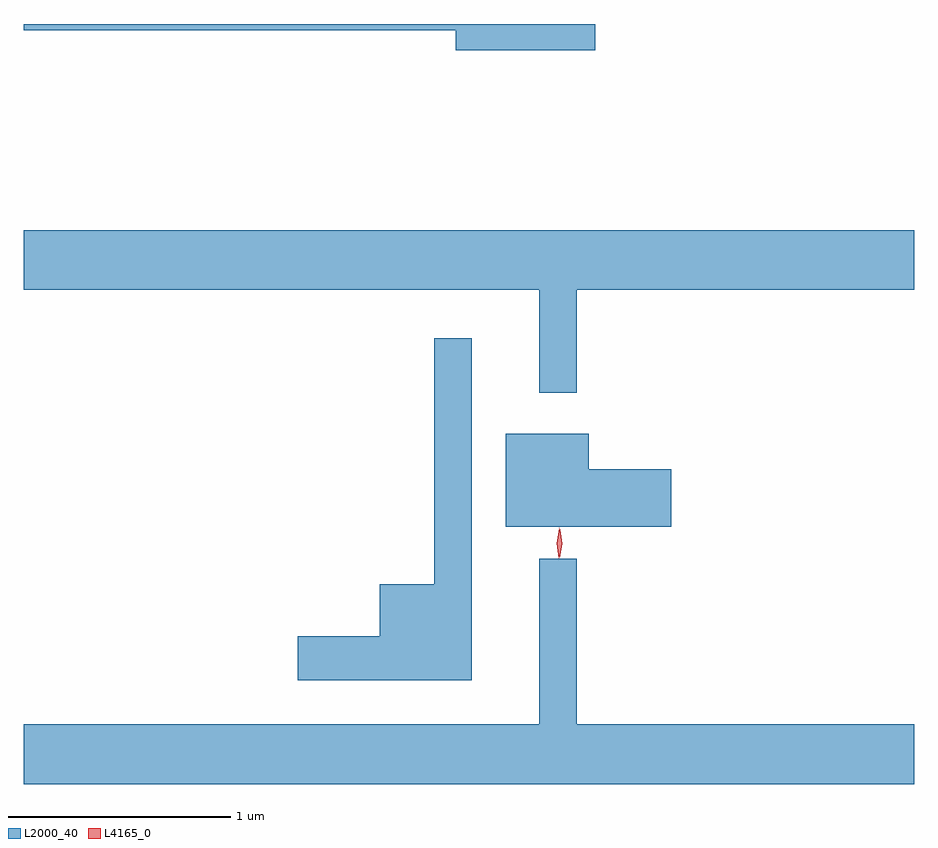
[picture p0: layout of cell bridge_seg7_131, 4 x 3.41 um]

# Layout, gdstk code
import gdstk
lib = gdstk.Library(unit=1e-6, precision=1e-09)
def P(c, l, *ps):  # polygons
    for p in ps: c.add(gdstk.Polygon(p, *l))
L2000_40 = (2000, 40)
L4165_0 = (4165, 0)

bridge_seg7_131 = lib.new_cell('bridge_seg7_131')
P(bridge_seg7_131, L2000_40, [(1472.044,1748.81),(1469.476,1748.81),(1469.476,1748.781),(1471.416,1748.781),(1471.416,1748.691),(1472.044,1748.691)],
  [(1471.959,1747.616),(1473.476,1747.616),(1473.476,1747.884),(1469.476,1747.884),(1469.476,1747.616),(1471.791,1747.616),(1471.791,1747.153),(1471.959,1747.153)],
  [(1471.489,1747.398),(1471.321,1747.398),(1471.321,1746.294),(1471.076,1746.294),(1471.076,1746.059),(1470.706,1746.059),(1470.706,1745.861),(1471.489,1745.861)],
  [(1472.384,1746.809),(1472.014,1746.809),(1472.014,1746.969),(1471.641,1746.969),(1471.641,1746.551),(1472.384,1746.551)],
  [(1473.476,1745.664),(1471.959,1745.664),(1471.959,1746.408),(1471.791,1746.408),(1471.791,1745.664),(1469.476,1745.664),(1469.476,1745.396),(1473.476,1745.396)])
P(bridge_seg7_131, L4165_0, [(1471.879,1746.41),(1471.87,1746.478),(1471.881,1746.545),(1471.881,1746.546),(1471.882,1746.545),(1471.89,1746.478),(1471.88,1746.41),(1471.88,1746.41)],
  [(1471.883,1746.413),(1471.883,1746.413),(1471.874,1746.476),(1471.884,1746.539),(1471.885,1746.54),(1471.885,1746.539),(1471.894,1746.476),(1471.884,1746.413)])

lib.write_gds('bridge_seg7_131.gds')
